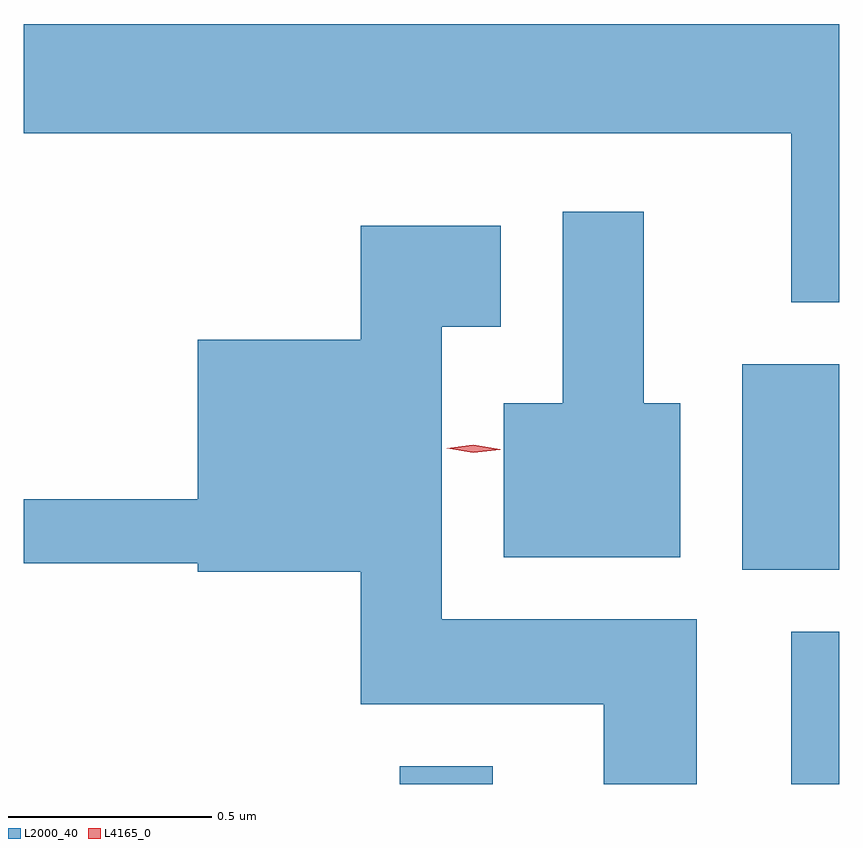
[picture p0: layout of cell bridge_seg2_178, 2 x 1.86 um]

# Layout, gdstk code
import gdstk
lib = gdstk.Library(unit=1e-6, precision=1e-09)
def R(c, l, rs):  # rectangles x0, y0, x1, y1
    for r in rs: c.add(gdstk.rectangle(r[:2], r[2:], *l))
def P(c, l, *ps):  # polygons
    for p in ps: c.add(gdstk.Polygon(p, *l))
L2000_40 = (2000, 40)
L4165_0 = (4165, 0)

bridge_seg2_178 = lib.new_cell('bridge_seg2_178')
R(bridge_seg2_178, L2000_40, [(829.591,1000.1,829.819,1000.144), (830.551,1000.1,830.669,1000.474), (830.431,1000.626,830.669,1001.129)])
P(bridge_seg2_178, L2000_40, [(830.669,1001.964),(828.669,1001.964),(828.669,1001.696),(830.551,1001.696),(830.551,1001.281),(830.669,1001.281)],
  [(830.279,1001.034),(830.189,1001.034),(830.189,1001.504),(829.991,1001.504),(829.991,1001.034),(829.846,1001.034),(829.846,1000.656),(830.279,1000.656)],
  [(830.319,1000.504),(829.694,1000.504),(829.694,1001.221),(829.839,1001.221),(829.839,1001.469),(829.496,1001.469),(829.496,1001.189),(829.096,1001.189),(829.096,1000.799),(828.669,1000.799),(828.669,1000.641),(829.096,1000.641),(829.096,1000.621),(829.496,1000.621),(829.496,1000.296),(830.091,1000.296),(830.091,1000.1),(830.319,1000.1)])
P(bridge_seg2_178, L4165_0, [(829.772,1000.912),(829.706,1000.923),(829.706,1000.923),(829.706,1000.924),(829.772,1000.932),(829.838,1000.921),(829.838,1000.921),(829.838,1000.92)])

lib.write_gds('bridge_seg2_178.gds')
